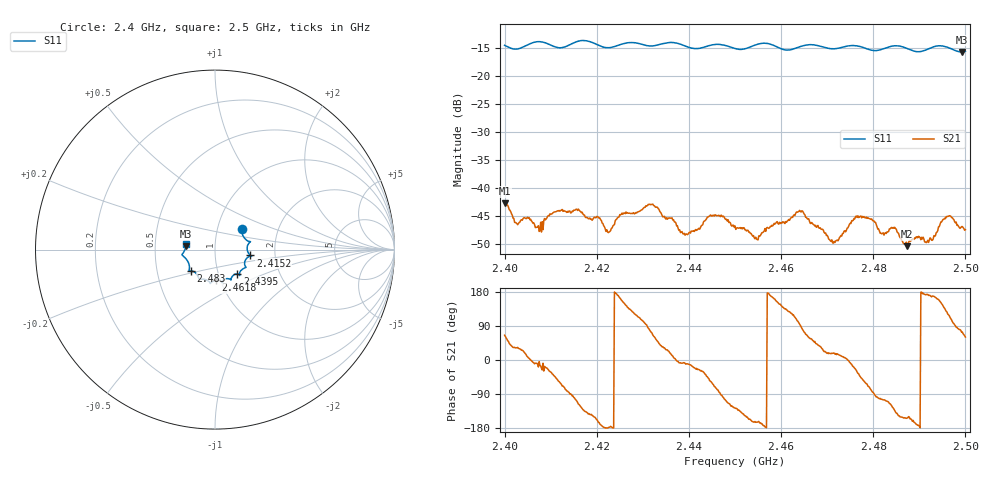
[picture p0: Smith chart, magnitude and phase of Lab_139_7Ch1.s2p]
# Hz S RI R 50
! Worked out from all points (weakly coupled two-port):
!   601 points, 2.4 GHz to 2.5 GHz, reference 50 ohm
!   highest |S21| = -42.72 dB at 2.4 GHz (marker M1); lowest = -50.4 dB at 2.4873 GHz (marker M2)
!   lowest |S11| = -15.7 dB at 2.4992 GHz (marker M3), VSWR 1.39, Z = 35.9 + j1.36 ohm
!   |S11| at or under -10 dB: start of sweep to end of sweep
!   S12 and S22 are empty: the file has one direction only
!   S11 on the Smith chart (normalised r, x): 2.4 GHz: 1.31, +0.31; 2.4152 GHz: 1.48, -0.10; 2.4395 GHz: 1.23, -0.34; 2.4618 GHz: 0.95, -0.33; 2.483 GHz: 0.74, -0.18; 2.5 GHz: 0.72, +0.05
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2.4e9  0.1501 0.1132  0.00305 0.00664  0 0  0 0
2.407167e9  0.1978 0.0442  0.00441 -0.000807  0 0  0 0
2.415167e9  0.1964 -0.0326  -0.0011 -0.00623  0 0  0 0
2.416667e9  0.204 -0.0377  -0.00349 -0.00492  0 0  0 0
2.4225e9  0.1669 -0.0645  -0.004 -0.000113  0 0  0 0
2.4255e9  0.1691 -0.0936  -0.00546 0.00243  0 0  0 0
2.433333e9  0.1369 -0.1318  0.00444 0.00481  0 0  0 0
2.4395e9  0.1239 -0.1353  0.00383 -0.000682  0 0  0 0
2.444833e9  0.0888 -0.1667  0.00304 -0.00482  0 0  0 0
2.45e9  0.0696 -0.1618  -0.00274 -0.00368  0 0  0 0
2.454667e9  0.0396 -0.1866  -0.00336 -0.000963  0 0  0 0
2.461833e9  0.00406 -0.1709  -0.00314 0.00408  0 0  0 0
2.466667e9  -0.0264 -0.1888  0.00284 0.00402  0 0  0 0
2.471167e9  -0.0515 -0.1676  0.0031 0.000972  0 0  0 0
2.476667e9  -0.0893 -0.1623  0.00462 -0.00325  0 0  0 0
2.483e9  -0.1356 -0.1182  -0.00132 -0.00384  0 0  0 0
2.483333e9  -0.1382 -0.118  -0.00148 -0.00381  0 0  0 0
2.487333e9  -0.1424 -0.1038  -0.0027 -0.00137  0 0  0 0
2.4925e9  -0.1744 -0.0384  -0.00346 0.000719  0 0  0 0
2.496333e9  -0.1781 -0.0201  -0.00274 0.00487  0 0  0 0
2.499167e9  -0.1632 0.0184  0.00129 0.00434  0 0  0 0
2.5e9  -0.163 0.0331  0.00208 0.0037  0 0  0 0
